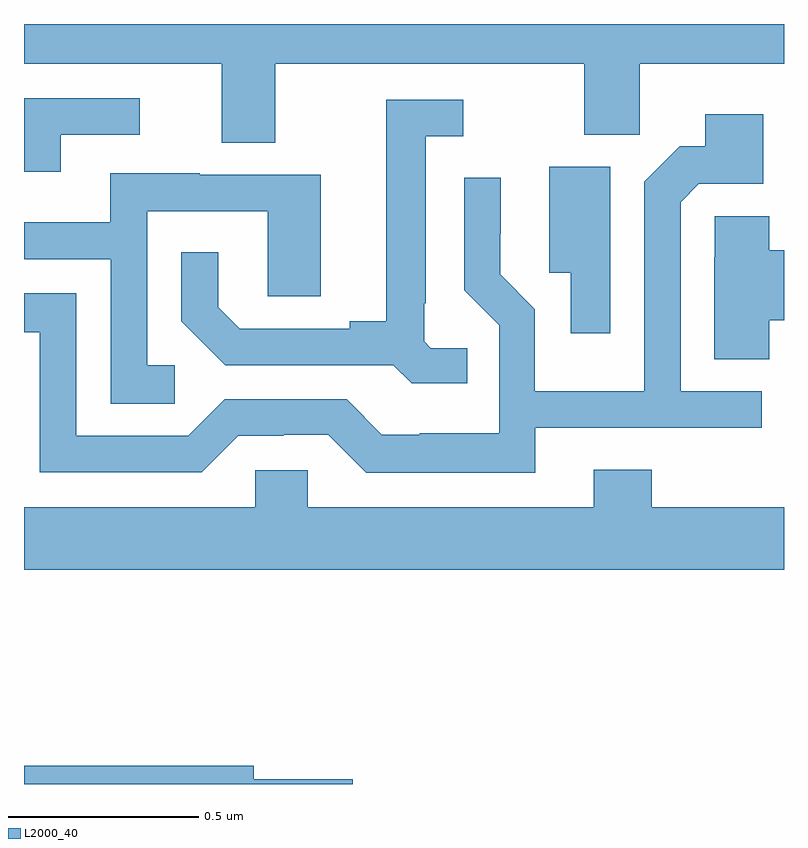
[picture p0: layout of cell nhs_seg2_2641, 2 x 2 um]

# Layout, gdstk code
import gdstk
lib = gdstk.Library(unit=1e-6, precision=1e-09)
def P(c, l, *ps):  # polygons
    for p in ps: c.add(gdstk.Polygon(p, *l))
L2000_40 = (2000, 40)

nhs_seg2_2641 = lib.new_cell('nhs_seg2_2641')
P(nhs_seg2_2641, L2000_40, [(144.661,587.696),(145.474,587.696),(145.474,587.509),(145.62,587.509),(145.62,587.696),(146,587.696),(146,587.8),(144,587.8),(144,587.696),(144.521,587.696),(144.521,587.488),(144.661,587.488)],
  [(144.097,587.508),(144.304,587.508),(144.304,587.604),(144,587.604),(144,587.411),(144.097,587.411)],
  [(145.166,586.947),(145.071,586.947),(145.053,586.965),(145.053,587.065),(145.057,587.065),(145.057,587.505),(145.156,587.505),(145.156,587.601),(144.953,587.601),(144.953,587.018),(144.857,587.018),(144.857,586.998),(144.568,586.998),(144.511,587.055),(144.511,587.2),(144.414,587.2),(144.414,587.018),(144.53,586.902),(144.972,586.902),(145.02,586.855),(145.166,586.855)],
  [(145.345,586.737),(145.942,586.737),(145.942,586.833),(145.728,586.833),(145.728,587.331),(145.776,587.379),(145.946,587.379),(145.946,587.563),(145.793,587.563),(145.793,587.478),(145.725,587.478),(145.632,587.385),(145.632,586.834),(145.344,586.834),(145.344,587.05),(145.253,587.142),(145.253,587.248),(145.254,587.248),(145.254,587.395),(145.158,587.395),(145.158,587.1),(145.251,587.007),(145.251,586.723),(145.042,586.723),(145.042,586.719),(144.942,586.719),(144.849,586.812),(144.528,586.812),(144.432,586.716),(144.138,586.716),(144.138,587.092),(144,587.092),(144,586.989),(144.042,586.989),(144.042,586.62),(144.468,586.62),(144.564,586.716),(144.684,586.716),(144.684,586.719),(144.801,586.719),(144.901,586.619),(145.345,586.619)],
  [(145.543,587.424),(145.382,587.424),(145.382,587.145),(145.439,587.145),(145.439,586.986),(145.543,586.986)],
  [(144.397,586.902),(144.324,586.902),(144.324,587.307),(144.642,587.307),(144.642,587.083),(144.781,587.083),(144.781,587.403),(144.463,587.403),(144.463,587.407),(144.227,587.407),(144.227,587.278),(144,587.278),(144,587.181),(144.228,587.181),(144.228,586.801),(144.397,586.801)],
  [(145.961,587.021),(146,587.021),(146,587.204),(145.961,587.204),(145.961,587.294),(145.818,587.294),(145.818,587.186),(145.817,587.186),(145.817,586.918),(145.961,586.918)],
  [(146,586.528),(145.652,586.528),(145.652,586.627),(145.499,586.627),(145.499,586.528),(144.747,586.528),(144.747,586.626),(144.609,586.626),(144.609,586.528),(144,586.528),(144,586.364),(146,586.364)],
  [(144.865,585.812),(144.604,585.812),(144.604,585.848),(144,585.848),(144,585.8),(144.865,585.8)])

lib.write_gds('nhs_seg2_2641.gds')
